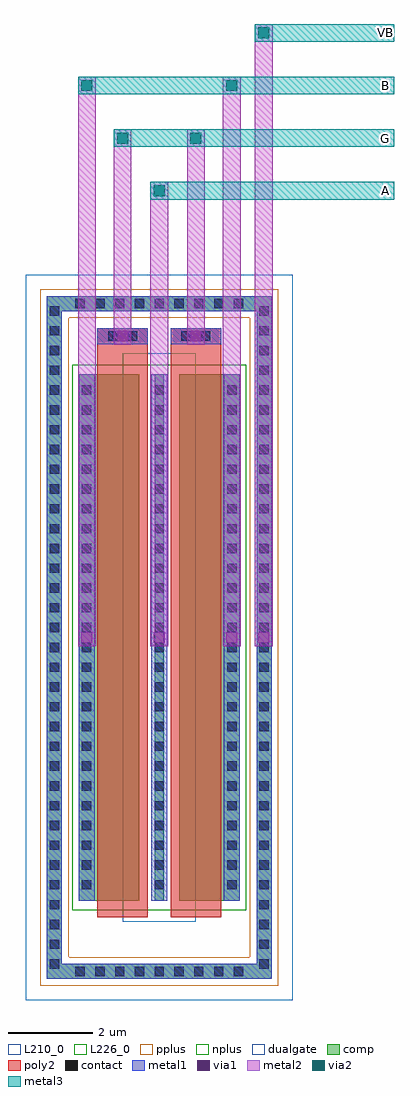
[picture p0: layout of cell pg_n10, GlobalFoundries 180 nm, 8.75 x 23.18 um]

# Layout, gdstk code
import gdstk
lib = gdstk.Library(unit=1e-6, precision=1e-09)
def R(c, l, rs):  # rectangles x0, y0, x1, y1
    for r in rs: c.add(gdstk.rectangle(r[:2], r[2:], *l))
def A(c, l, x, y, w, h, nx, ny, dx, dy):  # array of equal rectangles
    R(c, l, [(x+i*dx, y+j*dy, x+i*dx+w, y+j*dy+h) for i in range(nx) for j in range(ny)])
def P(c, l, *ps):  # polygons
    for p in ps: c.add(gdstk.Polygon(p, *l))
comp = (22, 0)
poly2 = (30, 0)
pplus = (31, 0)
nplus = (32, 0)
contact = (33, 0)
metal1 = (34, 0)
via1 = (35, 0)
metal2 = (36, 0)
via2 = (38, 0)
metal3 = (42, 0)
dualgate = (55, 0)
L210_0 = (210, 0)
L226_0 = (226, 0)

ldn25 = lib.new_cell('ldn25')
R(ldn25, comp, [(-1.91,-6.25,-0.47,6.25), (-0.11,-6.25,0.11,6.25), (0.47,-6.25,1.91,6.25)])
P(ldn25, comp, [(-2.67,-8.11),(-2.67,7.75),(-2.31,7.75),(-2.31,-7.75),(2.31,-7.75),(2.31,7.75),(-2.67,7.75),(-2.67,8.11),(2.67,8.11),(2.67,-8.11)])
R(ldn25, poly2, [(-1.47,-6.65,-0.27,7.35), (0.27,-6.65,1.47,7.35)])
P(ldn25, pplus, [(-2.83,-8.27),(-2.83,7.59),(-2.15,7.59),(-2.15,-7.59),(2.15,-7.59),(2.15,7.59),(-2.83,7.59),(-2.83,8.27),(2.83,8.27),(2.83,-8.27)])
R(ldn25, nplus, [(-2.07,-6.48,2.07,6.48)])
A(ldn25, contact, -1.99, -8.04, 0.22, 0.22, 9, 2, 0.47, 15.86)
A(ldn25, contact, -2.6, -7.865, 0.22, 0.22, 1, 34, 0, 0.47)
A(ldn25, contact, 2.38, -7.865, 0.22, 0.22, 1, 34, 0, 0.47)
A(ldn25, contact, -1.84, -5.985, 0.22, 0.22, 3, 26, 1.73, 0.47)
R(ldn25, contact, [(-1.215,7.05,-0.995,7.27), (-0.745,7.05,-0.525,7.27), (0.525,7.05,0.745,7.27), (0.995,7.05,1.215,7.27)])
A(ldn25, metal1, -1.91, -6.25, 0.38, 12.5, 3, 1, 1.72, 0)
R(ldn25, metal1, [(-1.47,6.97,-0.27,7.35), (0.27,6.97,1.47,7.35)])
P(ldn25, metal1, [(-2.67,-8.11),(-2.67,7.75),(-2.31,7.75),(-2.31,-7.75),(2.31,-7.75),(2.31,7.75),(-2.67,7.75),(-2.67,8.11),(2.67,8.11),(2.67,-8.11)])
R(ldn25, dualgate, [(-3.17,-8.61,3.17,8.61)])
R(ldn25, L210_0, [(-0.87,-6.75,0.87,6.75)])
R(ldn25, L226_0, [(-3.17,-8.61,3.17,8.61)])

pg_n10 = lib.new_cell('pg_n10')
A(pg_n10, via1, 2.52, 9.48, 0.26, 0.26, 3, 1, 1.72, 0)
R(pg_n10, via1, [(6.72,9.48,6.98,9.74), (3.37,16.64,3.63,16.9), (5.11,16.64,5.37,16.9)])
R(pg_n10, metal2, [(2.44,9.4,2.86,9.82), (2.44,9.4,2.86,9.82), (2.44,9.4,2.86,22.93), (4.16,9.4,4.58,9.82), (4.16,9.4,4.58,9.82), (4.16,9.4,4.58,20.43), (5.88,9.4,6.3,9.82), (5.88,9.4,6.3,9.82), (5.88,9.4,6.3,22.93), (6.64,9.4,7.06,9.82), (6.64,9.4,7.06,9.82), (6.64,9.4,7.06,24.18), (3.29,16.56,3.71,16.98), (3.29,16.56,3.71,16.98), (3.29,16.56,3.71,21.68), (5.03,16.56,5.45,16.98), (5.03,16.56,5.45,16.98), (5.03,16.56,5.45,21.68)])
R(pg_n10, via2, [(4.24,20.09,4.5,20.35), (3.37,21.34,3.63,21.6), (5.11,21.34,5.37,21.6), (2.52,22.59,2.78,22.85), (5.96,22.59,6.22,22.85), (6.72,23.84,6.98,24.1)])
R(pg_n10, metal3, [(4.16,20.01,4.58,20.43), (4.16,20.01,9.95,20.43), (3.29,21.26,3.71,21.68), (3.29,21.26,9.95,21.68), (5.03,21.26,5.45,21.68), (2.44,22.51,2.86,22.93), (2.44,22.51,9.95,22.93), (5.88,22.51,6.3,22.93), (6.64,23.76,7.06,24.18), (6.64,23.76,9.95,24.18)])
pg_n10.add(gdstk.Reference(ldn25, (4.37,9.61)))
pg_n10.add(gdstk.Label('A', (9.74,20.22), layer=42, texttype=10))
pg_n10.add(gdstk.Label('G', (9.74,21.47), layer=42, texttype=10))
pg_n10.add(gdstk.Label('B', (9.74,22.72), layer=42, texttype=10))
pg_n10.add(gdstk.Label('VB', (9.74,23.97), layer=42, texttype=10))

lib.write_gds('pg_n10.gds')
